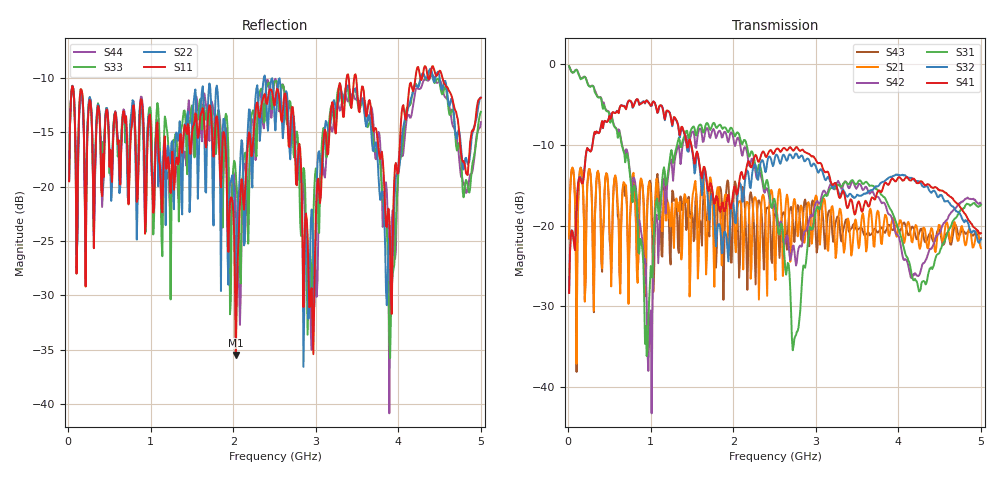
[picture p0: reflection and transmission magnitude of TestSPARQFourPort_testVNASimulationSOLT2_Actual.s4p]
# MHz MA S R 50.0
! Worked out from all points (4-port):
!   500 points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, 10 MHz to 5 GHz, reference 50 ohm
!   strongest paths, dB at 10 MHz, 1.26 GHz, 2.51 GHz, 3.76 GHz, 5 GHz:
!     S41: -28.4, -7.5, -10.7, -15.6, -21.0
!     S32: -28.3, -7.7, -11.4, -15.1, -21.7
!     S31: -0.2, -11.1, -17.3, -15.7, -17.4
!     S42: -0.2, -13.1, -18.3, -16.5, -17.3
!     S21: -21.6, -17.2, -26.8, -18.4, -22.8
!     S43: -21.6, -15.7, -18.4, -20.8, -21.6
!   lowest |S11| = -35.5 dB at 2.03 GHz (marker M1), VSWR 1.03, Z = 51.4 - j0.896 ohm
!   |S11| at or under -10 dB: start of sweep to 3.374 GHz; 3.489 GHz to 4.207 GHz (717.6 MHz wide, 18.6 % of centre); 4.535 GHz to end of sweep (the widest 3 of 6)
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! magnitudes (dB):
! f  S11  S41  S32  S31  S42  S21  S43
! 10 MHz  -19.5  -28.4  -28.3  -0.2  -0.2  -21.6  -21.6
! 990 MHz  -13.4  -5.0  -5.0  -27.0  -31.2  -14.8  -14.4
! 2.03 GHz  -35.5  -15.7  -19.7  -8.7  -9.9  -23.3  -14.9
! 2.73 GHz  -13.4  -10.7  -11.6  -34.9  -22.5  -17.0  -21.1
! 2.95 GHz  -29.3  -11.4  -12.6  -20.5  -18.8  -22.3  -17.3
! 3.29 GHz  -10.5  -16.6  -16.2  -15.1  -14.8  -17.9  -20.3
! 5 GHz  -11.8  -21.0  -21.7  -17.4  -17.3  -22.8  -21.6
